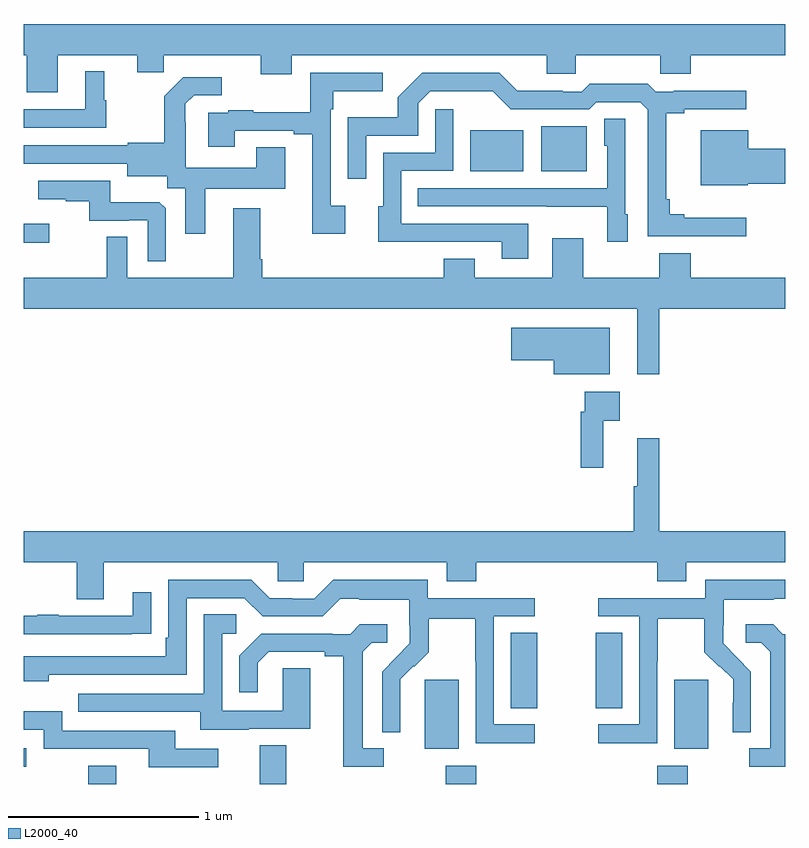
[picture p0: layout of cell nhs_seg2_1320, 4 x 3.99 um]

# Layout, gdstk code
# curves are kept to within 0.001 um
import gdstk
lib = gdstk.Library(unit=1e-6, precision=1e-09)
def R(c, l, rs):  # rectangles x0, y0, x1, y1
    for r in rs: c.add(gdstk.rectangle(r[:2], r[2:], *l))
def P(c, l, *ps):  # polygons
    for p in ps: c.add(gdstk.Polygon(p, *l))
L2000_40 = (2000, 40)

nhs_seg2_1320 = lib.new_cell('nhs_seg2_1320')
R(nhs_seg2_1320, L2000_40, [(179.338,651.8,179.485,651.895), (180.239,651.8,180.379,652.004), (181.216,651.8,181.376,651.895), (182.327,651.8,182.487,651.895), (179,651.891,179.014,651.987), (181.106,651.986,181.285,652.347), (182.417,651.986,182.596,652.347), (181.559,652.198,181.698,652.595), (182.005,652.198,182.143,652.595), (179,654.644,179.134,654.742), (181.346,655.019,181.624,655.234), (181.718,655.019,181.957,655.255)])
P(nhs_seg2_1320, L2000_40, [(179.179,655.628),(179.597,655.628),(179.597,655.538),(179.735,655.538),(179.735,655.628),(180.245,655.628),(180.245,655.529),(180.409,655.529),(180.409,655.628),(181.748,655.628),(181.748,655.53),(181.899,655.53),(181.899,655.628),(182.344,655.628),(182.344,655.53),(182.504,655.53),(182.504,655.628),(183,655.628),(183,655.792),(179,655.792),(179,655.628),(179.015,655.628),(179.015,655.434),(179.179,655.434)],
  [(179.434,655.392),(179.422,655.392),(179.422,655.543),(179.324,655.543),(179.324,655.344),(179,655.344),(179,655.248),(179.434,655.248)],
  [(180.688,654.838),(180.612,654.838),(180.612,655.343),(180.625,655.343),(180.625,655.439),(180.886,655.439),(180.886,655.536),(180.504,655.536),(180.504,655.328),(180.205,655.328),(180.205,655.339),(180.073,655.339),(180.073,655.326),(179.969,655.326),(179.969,655.146),(180.109,655.146),(180.109,655.23),(180.419,655.23),(180.419,655.212),(180.515,655.212),(180.515,654.69),(180.688,654.69)],
  [(182.794,654.775),(182.47,654.775),(182.47,654.794),(182.393,654.794),(182.393,654.871),(182.375,654.871),(182.375,655.322),(182.47,655.322),(182.47,655.344),(182.794,655.344),(182.794,655.442),(182.413,655.442),(182.413,655.437),(182.319,655.437),(182.279,655.477),(181.972,655.477),(181.932,655.437),(181.832,655.437),(181.832,655.442),(181.592,655.442),(181.497,655.536),(181.094,655.536),(180.964,655.406),(180.964,655.303),(180.702,655.303),(180.702,654.978),(180.798,654.978),(180.798,655.206),(181.071,655.206),(181.071,655.377),(181.134,655.44),(181.463,655.439),(181.557,655.344),(181.971,655.344),(182.007,655.38),(182.238,655.38),(182.277,655.341),(182.277,654.678),(182.794,654.678)],
  [(179.953,654.926),(180.373,654.926),(180.373,655.145),(180.221,655.145),(180.221,655.036),(179.85,655.036),(179.85,655.277),(179.848,655.277),(179.848,655.372),(179.895,655.419),(180.04,655.419),(180.04,655.513),(179.839,655.513),(179.739,655.413),(179.739,655.168),(179.547,655.168),(179.547,655.155),(179,655.155),(179,655.059),(179.543,655.059),(179.543,654.992),(179.754,654.992),(179.754,654.928),(179.849,654.928),(179.849,654.69),(179.953,654.69)],
  [(181.651,654.744),(180.984,654.744),(180.984,655.02),(181.257,655.02),(181.257,655.345),(181.161,655.345),(181.161,655.116),(180.888,655.116),(180.888,654.834),(180.863,654.834),(180.863,654.647),(181.081,654.647),(181.081,654.648),(181.511,654.648),(181.511,654.558),(181.651,654.558)],
  [(182.173,654.792),(182.16,654.792),(182.16,655.295),(182.048,655.295),(182.048,655.152),(182.064,655.152),(182.064,654.93),(181.069,654.93),(181.069,654.834),(181.747,654.834),(181.747,654.833),(182.064,654.833),(182.064,654.648),(182.173,654.648)],
  [(182.802,654.953),(183,654.953),(183,655.136),(182.806,655.136),(182.806,655.234),(182.555,655.234),(182.555,654.944),(182.802,654.944)],
  [(179.745,654.825),(179.713,654.857),(179.455,654.857),(179.455,654.969),(179.077,654.969),(179.077,654.872),(179.221,654.872),(179.221,654.861),(179.345,654.861),(179.345,654.759),(179.552,654.759),(179.552,654.762),(179.652,654.762),(179.652,654.545),(179.745,654.545)],
  [(182.339,654.296),(183,654.296),(183,654.46),(182.503,654.46),(182.503,654.589),(182.339,654.589),(182.339,654.46),(181.939,654.46),(181.939,654.667),(181.775,654.667),(181.775,654.46),(181.369,654.46),(181.369,654.559),(181.205,654.559),(181.205,654.46),(180.254,654.46),(180.254,654.556),(180.241,654.556),(180.241,654.823),(180.101,654.823),(180.101,654.46),(179.544,654.46),(179.544,654.674),(179.436,654.674),(179.436,654.46),(179,654.46),(179,654.296),(182.222,654.296),(182.222,653.952),(182.339,653.952)],
  [(182.077,654.196),(181.56,654.196),(181.56,654.026),(181.784,654.026),(181.784,653.951),(182.077,653.951)],
  [(182.045,653.708),(182.131,653.708),(182.131,653.86),(181.947,653.86),(181.947,653.756),(181.927,653.756),(181.927,653.46),(182.045,653.46)],
  [(182.327,652.865),(182.479,652.865),(182.479,652.964),(183,652.964),(183,653.128),(182.339,653.128),(182.339,653.617),(182.222,653.617),(182.222,653.364),(182.203,653.364),(182.203,653.128),(179,653.128),(179,652.964),(179.279,652.964),(179.279,652.77),(179.419,652.77),(179.419,652.964),(180.333,652.964),(180.333,652.866),(180.471,652.866),(180.471,652.964),(181.223,652.964),(181.223,652.865),(181.376,652.865),(181.376,652.964),(182.327,652.964)],
  [(182.328,652.444),(182.331,652.444),(182.331,652.668),(182.575,652.668),(182.575,652.493),(182.652,652.416),(182.655,652.419),(182.726,652.349),(182.726,652.226),(182.724,652.226),(182.724,652.072),(182.82,652.072),(182.82,652.39),(182.674,652.538),(182.674,652.635),(182.676,652.635),(182.676,652.769),(182.939,652.769),(182.939,652.773),(183,652.773),(183,652.873),(182.58,652.873),(182.58,652.776),(182.019,652.776),(182.019,652.68),(182.232,652.68),(182.232,652.113),(182.019,652.113),(182.019,652.015),(182.328,652.015)],
  [(181.684,652.113),(181.47,652.113),(181.47,652.68),(181.684,652.68),(181.684,652.776),(181.122,652.776),(181.122,652.873),(180.625,652.873),(180.525,652.773),(180.41,652.773),(180.41,652.776),(180.291,652.776),(180.195,652.872),(179.76,652.872),(179.76,652.567),(179.747,652.567),(179.747,652.47),(179,652.47),(179,652.34),(179.132,652.34),(179.132,652.374),(179.856,652.374),(179.856,652.776),(180.159,652.776),(180.255,652.68),(180.57,652.68),(180.663,652.773),(180.763,652.773),(180.763,652.769),(181.026,652.769),(181.026,652.635),(181.028,652.635),(181.028,652.538),(180.882,652.39),(180.882,652.072),(180.978,652.072),(180.977,652.349),(181.047,652.419),(181.05,652.416),(181.127,652.493),(181.127,652.668),(181.372,652.668),(181.372,652.444),(181.374,652.444),(181.374,652.015),(181.684,652.015)],
  [(179.567,652.588),(179.669,652.588),(179.669,652.807),(179.573,652.807),(179.573,652.683),(179.183,652.683),(179.183,652.688),(179.071,652.688),(179.071,652.683),(179,652.683),(179,652.587),(179.567,652.587)],
  [(180.181,652.089),(180.505,652.089),(180.505,652.409),(180.36,652.409),(180.36,652.185),(180.042,652.185),(180.042,652.59),(180.115,652.59),(180.115,652.691),(179.946,652.691),(179.946,652.275),(179.287,652.275),(179.287,652.179),(179.927,652.179),(179.927,652.085),(180.181,652.085)],
  [(183,652.587),(182.988,652.587),(182.936,652.639),(182.793,652.639),(182.793,652.542),(182.874,652.542),(182.921,652.495),(182.921,651.987),(182.811,651.987),(182.811,651.891),(183,651.891)],
  [(180.892,651.987),(180.781,651.987),(180.781,652.495),(180.828,652.542),(180.91,652.542),(180.91,652.639),(180.766,652.639),(180.714,652.587),(180.62,652.587),(180.62,652.59),(180.248,652.59),(180.132,652.474),(180.132,652.281),(180.229,652.281),(180.229,652.437),(180.286,652.494),(180.581,652.494),(180.581,652.472),(180.677,652.472),(180.677,651.891),(180.892,651.891)],
  [(180.022,651.984),(179.797,651.984),(179.797,652.08),(179.202,652.08),(179.202,652.183),(179,652.183),(179,652.086),(179.106,652.086),(179.106,651.984),(179.657,651.984),(179.657,651.888),(180.022,651.888)])

lib.write_gds('nhs_seg2_1320.gds')
